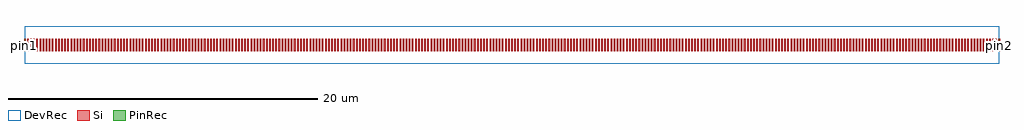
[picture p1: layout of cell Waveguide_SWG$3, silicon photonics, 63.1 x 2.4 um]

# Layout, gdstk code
import gdstk
lib = gdstk.Library(unit=1e-6, precision=1e-09)
def R(c, l, rs):  # rectangles x0, y0, x1, y1
    for r in rs: c.add(gdstk.rectangle(r[:2], r[2:], *l))
def A(c, l, x, y, w, h, nx, ny, dx, dy):  # array of equal rectangles
    R(c, l, [(x+i*dx, y+j*dy, x+i*dx+w, y+j*dy+h) for i in range(nx) for j in range(ny)])
Si = (1, 0)
PinRec = (1, 10)
DevRec = (68, 0)

waveguide_swg_3 = lib.new_cell('Waveguide_SWG$3')
A(waveguide_swg_3, Si, 0.351, -0.4, 0.1, 0.8, 3, 1, 0.201, 0)
A(waveguide_swg_3, Si, 1.354, -0.4, 0.1, 0.8, 3, 1, 0.201, 0)
A(waveguide_swg_3, Si, 1.956, -0.4, 0.1, 0.8, 3, 1, 0.201, 0)
A(waveguide_swg_3, Si, 2.558, -0.4, 0.1, 0.8, 3, 1, 0.201, 0)
A(waveguide_swg_3, Si, 3.561, -0.4, 0.1, 0.8, 3, 1, 0.201, 0)
A(waveguide_swg_3, Si, 4.163, -0.4, 0.1, 0.8, 3, 1, 0.201, 0)
A(waveguide_swg_3, Si, 4.765, -0.4, 0.1, 0.8, 3, 1, 0.201, 0)
A(waveguide_swg_3, Si, 5.768, -0.4, 0.1, 0.8, 3, 1, 0.201, 0)
A(waveguide_swg_3, Si, 6.37, -0.4, 0.1, 0.8, 3, 1, 0.201, 0)
A(waveguide_swg_3, Si, 6.972, -0.4, 0.1, 0.8, 3, 1, 0.201, 0)
A(waveguide_swg_3, Si, 7.975, -0.4, 0.1, 0.8, 3, 1, 0.201, 0)
A(waveguide_swg_3, Si, 8.577, -0.4, 0.1, 0.8, 3, 1, 0.201, 0)
A(waveguide_swg_3, Si, 9.179, -0.4, 0.1, 0.8, 3, 1, 0.201, 0)
A(waveguide_swg_3, Si, 10.182, -0.4, 0.1, 0.8, 3, 1, 0.201, 0)
A(waveguide_swg_3, Si, 10.784, -0.4, 0.1, 0.8, 3, 1, 0.201, 0)
A(waveguide_swg_3, Si, 11.386, -0.4, 0.1, 0.8, 3, 1, 0.201, 0)
A(waveguide_swg_3, Si, 12.389, -0.4, 0.1, 0.8, 3, 1, 0.201, 0)
A(waveguide_swg_3, Si, 12.991, -0.4, 0.1, 0.8, 3, 1, 0.201, 0)
A(waveguide_swg_3, Si, 13.593, -0.4, 0.1, 0.8, 3, 1, 0.201, 0)
A(waveguide_swg_3, Si, 14.596, -0.4, 0.1, 0.8, 3, 1, 0.201, 0)
A(waveguide_swg_3, Si, 15.198, -0.4, 0.1, 0.8, 3, 1, 0.201, 0)
A(waveguide_swg_3, Si, 15.8, -0.4, 0.1, 0.8, 3, 1, 0.201, 0)
A(waveguide_swg_3, Si, 16.402, -0.4, 0.1, 0.8, 3, 1, 0.201, 0)
A(waveguide_swg_3, Si, 17.405, -0.4, 0.1, 0.8, 3, 1, 0.201, 0)
A(waveguide_swg_3, Si, 18.007, -0.4, 0.1, 0.8, 3, 1, 0.201, 0)
A(waveguide_swg_3, Si, 18.609, -0.4, 0.1, 0.8, 3, 1, 0.201, 0)
A(waveguide_swg_3, Si, 19.612, -0.4, 0.1, 0.8, 3, 1, 0.201, 0)
A(waveguide_swg_3, Si, 20.214, -0.4, 0.1, 0.8, 3, 1, 0.201, 0)
A(waveguide_swg_3, Si, 20.816, -0.4, 0.1, 0.8, 3, 1, 0.201, 0)
A(waveguide_swg_3, Si, 21.819, -0.4, 0.1, 0.8, 3, 1, 0.201, 0)
A(waveguide_swg_3, Si, 22.421, -0.4, 0.1, 0.8, 3, 1, 0.201, 0)
A(waveguide_swg_3, Si, 23.023, -0.4, 0.1, 0.8, 3, 1, 0.201, 0)
A(waveguide_swg_3, Si, 24.026, -0.4, 0.1, 0.8, 3, 1, 0.201, 0)
A(waveguide_swg_3, Si, 24.628, -0.4, 0.1, 0.8, 3, 1, 0.201, 0)
A(waveguide_swg_3, Si, 25.23, -0.4, 0.1, 0.8, 3, 1, 0.201, 0)
A(waveguide_swg_3, Si, 26.233, -0.4, 0.1, 0.8, 3, 1, 0.201, 0)
A(waveguide_swg_3, Si, 26.835, -0.4, 0.1, 0.8, 3, 1, 0.201, 0)
A(waveguide_swg_3, Si, 27.437, -0.4, 0.1, 0.8, 3, 1, 0.201, 0)
A(waveguide_swg_3, Si, 28.44, -0.4, 0.1, 0.8, 3, 1, 0.201, 0)
A(waveguide_swg_3, Si, 29.042, -0.4, 0.1, 0.8, 3, 1, 0.201, 0)
A(waveguide_swg_3, Si, 29.644, -0.4, 0.1, 0.8, 3, 1, 0.201, 0)
A(waveguide_swg_3, Si, 30.647, -0.4, 0.1, 0.8, 3, 1, 0.201, 0)
A(waveguide_swg_3, Si, 31.249, -0.4, 0.1, 0.8, 3, 1, 0.201, 0)
A(waveguide_swg_3, Si, 31.851, -0.4, 0.1, 0.8, 3, 1, 0.201, 0)
A(waveguide_swg_3, Si, 32.854, -0.4, 0.1, 0.8, 3, 1, 0.201, 0)
A(waveguide_swg_3, Si, 33.456, -0.4, 0.1, 0.8, 3, 1, 0.201, 0)
A(waveguide_swg_3, Si, 34.058, -0.4, 0.1, 0.8, 3, 1, 0.201, 0)
A(waveguide_swg_3, Si, 35.061, -0.4, 0.1, 0.8, 3, 1, 0.201, 0)
A(waveguide_swg_3, Si, 35.663, -0.4, 0.1, 0.8, 3, 1, 0.201, 0)
A(waveguide_swg_3, Si, 36.265, -0.4, 0.1, 0.8, 3, 1, 0.201, 0)
A(waveguide_swg_3, Si, 37.268, -0.4, 0.1, 0.8, 3, 1, 0.201, 0)
A(waveguide_swg_3, Si, 37.87, -0.4, 0.1, 0.8, 3, 1, 0.201, 0)
A(waveguide_swg_3, Si, 38.472, -0.4, 0.1, 0.8, 3, 1, 0.201, 0)
A(waveguide_swg_3, Si, 39.475, -0.4, 0.1, 0.8, 3, 1, 0.201, 0)
A(waveguide_swg_3, Si, 40.077, -0.4, 0.1, 0.8, 3, 1, 0.201, 0)
A(waveguide_swg_3, Si, 40.679, -0.4, 0.1, 0.8, 3, 1, 0.201, 0)
A(waveguide_swg_3, Si, 41.682, -0.4, 0.1, 0.8, 3, 1, 0.201, 0)
A(waveguide_swg_3, Si, 42.284, -0.4, 0.1, 0.8, 3, 1, 0.201, 0)
A(waveguide_swg_3, Si, 42.886, -0.4, 0.1, 0.8, 3, 1, 0.201, 0)
A(waveguide_swg_3, Si, 43.889, -0.4, 0.1, 0.8, 3, 1, 0.201, 0)
A(waveguide_swg_3, Si, 44.491, -0.4, 0.1, 0.8, 3, 1, 0.201, 0)
A(waveguide_swg_3, Si, 45.093, -0.4, 0.1, 0.8, 3, 1, 0.201, 0)
A(waveguide_swg_3, Si, 46.096, -0.4, 0.1, 0.8, 3, 1, 0.201, 0)
A(waveguide_swg_3, Si, 46.698, -0.4, 0.1, 0.8, 3, 1, 0.201, 0)
A(waveguide_swg_3, Si, 47.3, -0.4, 0.1, 0.8, 3, 1, 0.201, 0)
A(waveguide_swg_3, Si, 47.902, -0.4, 0.1, 0.8, 3, 1, 0.201, 0)
A(waveguide_swg_3, Si, 48.905, -0.4, 0.1, 0.8, 3, 1, 0.201, 0)
A(waveguide_swg_3, Si, 49.507, -0.4, 0.1, 0.8, 3, 1, 0.201, 0)
A(waveguide_swg_3, Si, 50.109, -0.4, 0.1, 0.8, 3, 1, 0.201, 0)
A(waveguide_swg_3, Si, 51.112, -0.4, 0.1, 0.8, 3, 1, 0.201, 0)
A(waveguide_swg_3, Si, 51.714, -0.4, 0.1, 0.8, 3, 1, 0.201, 0)
A(waveguide_swg_3, Si, 52.316, -0.4, 0.1, 0.8, 3, 1, 0.201, 0)
A(waveguide_swg_3, Si, 53.319, -0.4, 0.1, 0.8, 3, 1, 0.201, 0)
A(waveguide_swg_3, Si, 53.921, -0.4, 0.1, 0.8, 3, 1, 0.201, 0)
A(waveguide_swg_3, Si, 54.523, -0.4, 0.1, 0.8, 3, 1, 0.201, 0)
A(waveguide_swg_3, Si, 55.526, -0.4, 0.1, 0.8, 3, 1, 0.201, 0)
A(waveguide_swg_3, Si, 56.128, -0.4, 0.1, 0.8, 3, 1, 0.201, 0)
A(waveguide_swg_3, Si, 56.73, -0.4, 0.1, 0.8, 3, 1, 0.201, 0)
A(waveguide_swg_3, Si, 57.733, -0.4, 0.1, 0.8, 3, 1, 0.201, 0)
A(waveguide_swg_3, Si, 58.335, -0.4, 0.1, 0.8, 3, 1, 0.201, 0)
A(waveguide_swg_3, Si, 58.937, -0.4, 0.1, 0.8, 3, 1, 0.201, 0)
A(waveguide_swg_3, Si, 59.94, -0.4, 0.1, 0.8, 3, 1, 0.201, 0)
A(waveguide_swg_3, Si, 60.542, -0.4, 0.1, 0.8, 3, 1, 0.201, 0)
A(waveguide_swg_3, Si, 61.144, -0.4, 0.1, 0.8, 3, 1, 0.201, 0)
A(waveguide_swg_3, Si, 62.147, -0.4, 0.1, 0.8, 3, 1, 0.201, 0)
R(waveguide_swg_3, Si, [(-0.05,-0.4,0.05,0.4), (0.151,-0.4,0.251,0.4), (0.953,-0.4,1.053,0.4), (1.154,-0.4,1.254,0.4), (3.16,-0.4,3.26,0.4), (3.361,-0.4,3.461,0.4), (5.367,-0.4,5.467,0.4), (5.568,-0.4,5.668,0.4), (7.574,-0.4,7.674,0.4), (7.775,-0.4,7.875,0.4), (9.781,-0.4,9.881,0.4), (9.982,-0.4,10.082,0.4), (11.988,-0.4,12.088,0.4), (12.189,-0.4,12.289,0.4), (14.195,-0.4,14.295,0.4), (14.396,-0.4,14.496,0.4), (17.004,-0.4,17.104,0.4), (17.205,-0.4,17.305,0.4), (19.211,-0.4,19.311,0.4), (19.412,-0.4,19.512,0.4), (21.418,-0.4,21.518,0.4), (21.619,-0.4,21.719,0.4), (23.625,-0.4,23.725,0.4), (23.826,-0.4,23.926,0.4), (25.832,-0.4,25.932,0.4), (26.033,-0.4,26.133,0.4), (28.039,-0.4,28.139,0.4), (28.24,-0.4,28.34,0.4), (30.246,-0.4,30.346,0.4), (30.447,-0.4,30.547,0.4), (32.453,-0.4,32.553,0.4), (32.654,-0.4,32.754,0.4), (34.66,-0.4,34.76,0.4), (34.861,-0.4,34.961,0.4), (36.867,-0.4,36.967,0.4), (37.068,-0.4,37.168,0.4), (39.074,-0.4,39.174,0.4), (39.275,-0.4,39.375,0.4), (41.281,-0.4,41.381,0.4), (41.482,-0.4,41.582,0.4), (43.488,-0.4,43.588,0.4), (43.689,-0.4,43.789,0.4), (45.695,-0.4,45.795,0.4), (45.896,-0.4,45.996,0.4), (48.504,-0.4,48.604,0.4), (48.705,-0.4,48.805,0.4), (50.711,-0.4,50.811,0.4), (50.912,-0.4,51.012,0.4), (52.918,-0.4,53.018,0.4), (53.119,-0.4,53.219,0.4), (55.125,-0.4,55.225,0.4), (55.326,-0.4,55.426,0.4), (57.332,-0.4,57.432,0.4), (57.533,-0.4,57.633,0.4), (59.539,-0.4,59.639,0.4), (59.74,-0.4,59.84,0.4), (61.746,-0.4,61.846,0.4), (61.947,-0.4,62.047,0.4), (62.749,-0.4,62.849,0.4), (62.95,-0.4,63.05,0.4)])
R(waveguide_swg_3, DevRec, [(0,-1.2,63,1.2)])
waveguide_swg_3.add(gdstk.FlexPath([(0.01,0),(-0.01,0)], 0.8, ends="flush", simple_path=True, layer=1, datatype=10))  # PinRec
waveguide_swg_3.add(gdstk.FlexPath([(62.99,0),(63.01,0)], 0.8, ends="flush", simple_path=True, layer=1, datatype=10))  # PinRec
waveguide_swg_3.add(gdstk.Label('pin1', (0,0), layer=1, texttype=10))
waveguide_swg_3.add(gdstk.Label('pin2', (63,0), layer=1, texttype=10))
waveguide_swg_3.add(gdstk.Label('Lumerical_INTERCONNECT_library=Design kits/ebeam_v1.2', (0,0), layer=68, texttype=0))
waveguide_swg_3.add(gdstk.Label('Component=NO_MODEL_AVAILABLE', (6.3,0), layer=68, texttype=0))
waveguide_swg_3.add(gdstk.Label('Spice_param:length=63.000u target_period=0.200u grating_period=0.201u wg_width=0.800u duty=0.500 ', (7,-0.2), layer=68, texttype=0))

lib.write_gds('Waveguide_SWG_3.gds')
